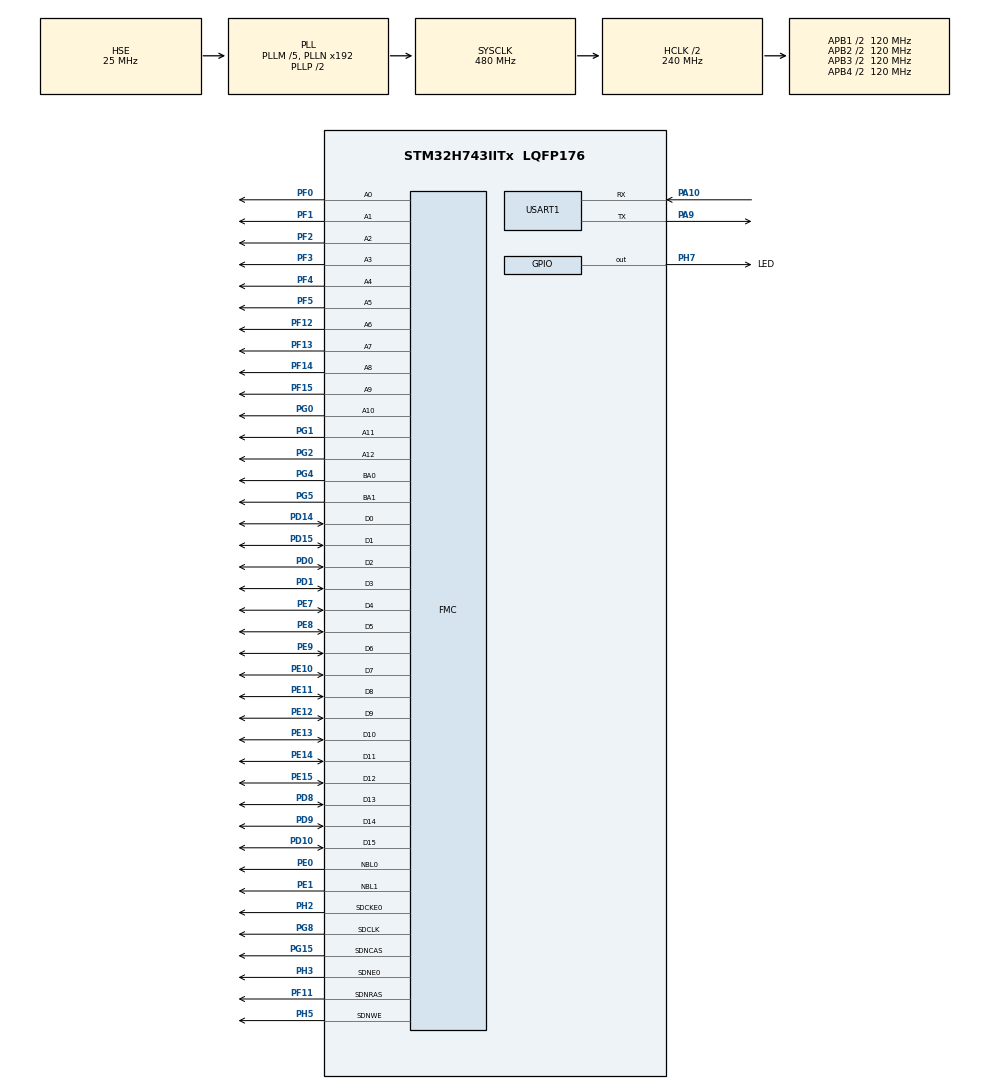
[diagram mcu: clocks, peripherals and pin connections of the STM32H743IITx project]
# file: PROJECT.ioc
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Dma.Request0=USART1_RX
Dma.Request1=USART1_TX
Dma.USART1_RX.0.Direction=DMA_PERIPH_TO_MEMORY
Dma.USART1_RX.0.EventEnable=DISABLE
Dma.USART1_RX.0.FIFOMode=DMA_FIFOMODE_DISABLE
Dma.USART1_RX.0.Instance=DMA1_Stream0
Dma.USART1_RX.0.MemDataAlignment=DMA_MDATAALIGN_BYTE
Dma.USART1_RX.0.MemInc=DMA_MINC_ENABLE
Dma.USART1_RX.0.Mode=DMA_NORMAL
Dma.USART1_RX.0.PeriphDataAlignment=DMA_PDATAALIGN_BYTE
Dma.USART1_RX.0.PeriphInc=DMA_PINC_DISABLE
Dma.USART1_RX.0.Polarity=HAL_DMAMUX_REQ_GEN_RISING
Dma.USART1_RX.0.Priority=DMA_PRIORITY_LOW
Dma.USART1_RX.0.RequestNumber=1
Dma.USART1_RX.0.SignalID=NONE
Dma.USART1_RX.0.SyncEnable=DISABLE
Dma.USART1_RX.0.SyncPolarity=HAL_DMAMUX_SYNC_NO_EVENT
Dma.USART1_RX.0.SyncRequestNumber=1
Dma.USART1_RX.0.SyncSignalID=NONE
Dma.USART1_TX.1.Direction=DMA_MEMORY_TO_PERIPH
Dma.USART1_TX.1.EventEnable=DISABLE
Dma.USART1_TX.1.FIFOMode=DMA_FIFOMODE_DISABLE
Dma.USART1_TX.1.Instance=DMA1_Stream1
Dma.USART1_TX.1.MemDataAlignment=DMA_MDATAALIGN_BYTE
Dma.USART1_TX.1.MemInc=DMA_MINC_ENABLE
Dma.USART1_TX.1.Mode=DMA_NORMAL
Dma.USART1_TX.1.PeriphDataAlignment=DMA_PDATAALIGN_BYTE
Dma.USART1_TX.1.PeriphInc=DMA_PINC_DISABLE
Dma.USART1_TX.1.Polarity=HAL_DMAMUX_REQ_GEN_RISING
Dma.USART1_TX.1.Priority=DMA_PRIORITY_LOW
Dma.USART1_TX.1.RequestNumber=1
Dma.USART1_TX.1.SignalID=NONE
Dma.USART1_TX.1.SyncEnable=DISABLE
Dma.USART1_TX.1.SyncPolarity=HAL_DMAMUX_SYNC_NO_EVENT
Dma.USART1_TX.1.SyncRequestNumber=1
Dma.USART1_TX.1.SyncSignalID=NONE
FMC.CASLatency1=FMC_SDRAM_CAS_LATENCY_3
FMC.ColumnBitsNumber1=FMC_SDRAM_COLUMN_BITS_NUM_9
FMC.ExitSelfRefreshDelay1=9
FMC.LoadToActiveDelay1=1
FMC.RCDDelay1=3
FMC.RPDelay1=3
FMC.RPDelay2=3
FMC.RowCycleDelay1=8
FMC.RowCycleDelay2=8
FMC.SDClockPeriod1=FMC_SDRAM_CLOCK_PERIOD_2
FMC.SDClockPeriod2=FMC_SDRAM_CLOCK_PERIOD_2
FMC.SelfRefreshTime1=6
FMC.WriteRecoveryTime1=3
Mcu.Family=STM32H7
Mcu.Name=STM32H743IITx
Mcu.Package=LQFP176
NVIC.DMA1_Stream0_IRQn=true\:5\:0\:true\:false\:true\:false\:true\:true
NVIC.DMA1_Stream1_IRQn=true\:5\:0\:true\:false\:true\:false\:true\:true
NVIC.PriorityGroup=NVIC_PRIORITYGROUP_4
NVIC.USART1_IRQn=true\:5\:0\:true\:false\:true\:true\:true\:true
PA10.Mode=Asynchronous
PA10.Signal=USART1_RX
PA13\ (JTMS/SWDIO).Mode=Serial_Wire
PA13\ (JTMS/SWDIO).Signal=DEBUG_JTMS-SWDIO
PA14\ (JTCK/SWCLK).Mode=Serial_Wire
PA14\ (JTCK/SWCLK).Signal=DEBUG_JTCK-SWCLK
PA9.Mode=Asynchronous
PA9.Signal=USART1_TX
PD0.Signal=FMC_D2_DA2
PD1.Signal=FMC_D3_DA3
PD10.Signal=FMC_D15_DA15
PD14.Signal=FMC_D0_DA0
PD15.Signal=FMC_D1_DA1
PD8.Signal=FMC_D13_DA13
PD9.Signal=FMC_D14_DA14
PE0.Signal=FMC_NBL0
PE1.Signal=FMC_NBL1
PE10.Signal=FMC_D7_DA7
PE11.Signal=FMC_D8_DA8
PE12.Signal=FMC_D9_DA9
PE13.Signal=FMC_D10_DA10
PE14.Signal=FMC_D11_DA11
PE15.Signal=FMC_D12_DA12
PE7.Signal=FMC_D4_DA4
PE8.Signal=FMC_D5_DA5
PE9.Signal=FMC_D6_DA6
PF0.Signal=FMC_A0
PF1.Signal=FMC_A1
PF11.Signal=FMC_SDNRAS
PF12.Signal=FMC_A6
PF13.Signal=FMC_A7
PF14.Signal=FMC_A8
PF15.Signal=FMC_A9
PF2.Signal=FMC_A2
PF3.Signal=FMC_A3
PF4.Signal=FMC_A4
PF5.Signal=FMC_A5
PG0.Signal=FMC_A10
PG1.Signal=FMC_A11
PG15.Signal=FMC_SDNCAS
PG2.Signal=FMC_A12
PG4.Signal=FMC_A14_BA0
PG5.Signal=FMC_A15_BA1
PG8.Signal=FMC_SDCLK
PH0-OSC_IN\ (PH0).Mode=HSE-External-Oscillator
PH0-OSC_IN\ (PH0).Signal=RCC_OSC_IN
PH1-OSC_OUT\ (PH1).Mode=HSE-External-Oscillator
PH1-OSC_OUT\ (PH1).Signal=RCC_OSC_OUT
PH2.Mode=SdramChipSelect1_1
PH2.Signal=FMC_SDCKE0
PH3.Mode=SdramChipSelect1_1
PH3.Signal=FMC_SDNE0
PH5.Signal=FMC_SDNWE
PH7.GPIO_Label=LED
PH7.Signal=GPIO_Output
ProjectManager.HeapSize=0x200
ProjectManager.StackSize=0x400
ProjectManager.TargetToolchain=MDK-ARM V5.32
RCC.ADCFreq_Value=50390625
RCC.APB1Freq_Value=120000000
RCC.APB2Freq_Value=120000000
RCC.APB3Freq_Value=120000000
RCC.APB4Freq_Value=120000000
RCC.CortexFreq_Value=480000000
RCC.D1PPRE=RCC_APB3_DIV2
RCC.D2PPRE1=RCC_APB1_DIV2
RCC.D2PPRE2=RCC_APB2_DIV2
RCC.D3PPRE=RCC_APB4_DIV2
RCC.DIVM1=5
RCC.DIVN1=192
RCC.HCLKFreq_Value=240000000
RCC.HPRE=RCC_HCLK_DIV2
RCC.PLL2FRACN=0
RCC.PLL3FRACN=0
RCC.PLLFRACN=0
RCC.PLLSourceVirtual=RCC_PLLSOURCE_HSE
RCC.SYSCLKFreq_VALUE=480000000
RCC.SYSCLKSource=RCC_SYSCLKSOURCE_PLLCLK
RCC.USBFreq_Value=480000000
SH.FMC_A0.0=FMC_A0,13b-sda1
SH.FMC_A1.0=FMC_A1,13b-sda1
SH.FMC_A10.0=FMC_A10,13b-sda1
SH.FMC_A11.0=FMC_A11,13b-sda1
SH.FMC_A12.0=FMC_A12,13b-sda1
SH.FMC_A14_BA0.0=FMC_BA0,FourSdramBanks1
SH.FMC_A15_BA1.0=FMC_BA1,FourSdramBanks1
SH.FMC_A2.0=FMC_A2,13b-sda1
SH.FMC_A3.0=FMC_A3,13b-sda1
SH.FMC_A4.0=FMC_A4,13b-sda1
SH.FMC_A5.0=FMC_A5,13b-sda1
SH.FMC_A6.0=FMC_A6,13b-sda1
SH.FMC_A7.0=FMC_A7,13b-sda1
SH.FMC_A8.0=FMC_A8,13b-sda1
SH.FMC_A9.0=FMC_A9,13b-sda1
SH.FMC_D0_DA0.0=FMC_D0,sd-16b-d1
SH.FMC_D10_DA10.0=FMC_D10,sd-16b-d1
SH.FMC_D11_DA11.0=FMC_D11,sd-16b-d1
SH.FMC_D12_DA12.0=FMC_D12,sd-16b-d1
SH.FMC_D13_DA13.0=FMC_D13,sd-16b-d1
SH.FMC_D14_DA14.0=FMC_D14,sd-16b-d1
SH.FMC_D15_DA15.0=FMC_D15,sd-16b-d1
SH.FMC_D1_DA1.0=FMC_D1,sd-16b-d1
SH.FMC_D2_DA2.0=FMC_D2,sd-16b-d1
SH.FMC_D3_DA3.0=FMC_D3,sd-16b-d1
SH.FMC_D4_DA4.0=FMC_D4,sd-16b-d1
SH.FMC_D5_DA5.0=FMC_D5,sd-16b-d1
SH.FMC_D6_DA6.0=FMC_D6,sd-16b-d1
SH.FMC_D7_DA7.0=FMC_D7,sd-16b-d1
SH.FMC_D8_DA8.0=FMC_D8,sd-16b-d1
SH.FMC_D9_DA9.0=FMC_D9,sd-16b-d1
SH.FMC_NBL0.0=FMC_NBL0,Sd2ByteEnable1
SH.FMC_NBL1.0=FMC_NBL1,Sd2ByteEnable1
SH.FMC_SDCLK.0=FMC_SDCLK,13b-sda1
SH.FMC_SDNCAS.0=FMC_SDNCAS,13b-sda1
SH.FMC_SDNRAS.0=FMC_SDNRAS,13b-sda1
SH.FMC_SDNWE.0=FMC_SDNWE,13b-sda1
USART1.VirtualMode-Asynchronous=VM_ASYNC
board=custom

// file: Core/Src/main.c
/* USER CODE BEGIN Header */
/**
 ******************************************************************************
 * @file           : main.c
 * @brief          : Main program body
 ******************************************************************************
 * @attention
 *
 * Copyright (c) 2024 STMicroelectronics.
 * All rights reserved.
 *
 * This software is licensed under terms that can be found in the LICENSE file
 * in the root directory of this software component.
 * If no LICENSE file comes with this software, it is provided AS-IS.
 *
 ******************************************************************************
 */
/* USER CODE END Header */
#include "main.h"
#include "dma.h"
#include "usart.h"
#include "gpio.h"
#include "fmc.h"

/* USER CODE BEGIN Includes */
#include <stdio.h>
#include "iled.h"
#include "iusart.h"
#include "isdram.h"
#include "imemory.h"
/* USER CODE END Includes */

/* USER CODE BEGIN PV */
// uint8_t receiveData[50];
/* USER CODE END PV */

void SystemClock_Config(void);

int main(void)
{
  /* USER CODE BEGIN 1 */
  void *p = NULL;

  /* USER CODE END 1 */

  /* MCU Configuration--------------------------------------------------------*/

  /* Reset of all peripherals, Initializes the Flash interface and the Systick. */
  HAL_Init();

  /* Configure the system clock */
  SystemClock_Config();

  /* Initialize all configured peripherals */
  MX_GPIO_Init();
  MX_DMA_Init();
  MX_USART1_UART_Init();
  MX_FMC_Init();
  /* USER CODE BEGIN 2 */
  SDRAM_InitSequence();
  MCU_serial_init();
  // SDRAM_Test();
  memory_init();

  void* ptr1 = memory_alloc(1 * 1024 * 1024); // allocate 10 MB
  if (ptr1) {
      printf("Allocated 10 MB at %p\n", ptr1);
  } else {
      printf("Failed to allocate 10 MB\n");
  }

  //modify the values in the allocated memory
  for (int i = 0; i < 10 * 1024 * 1024/4; i++) {
      ((uint32_t*)ptr1)[i] = i;
      // print
      if (i % 4096 == 0)
      {
        printf("Value at %p: %d\n", &((uint32_t*)ptr1)[i], ((uint32_t*)ptr1)[i]);
      }
  }

  memory_free(ptr1);
  MCU_printf("Freed memory at %p\n", ptr1);
  /* USER CODE END 2 */

  /* Infinite loop */
  while (1)
  {

    /* USER CODE BEGIN 3 */
    LED(1);
    HAL_Delay(500);
    LED(0);
    HAL_Delay(500);

    MCU_printf("There are %d days in a week.\n\r", 7);
  }
  /* USER CODE END 3 */
}

void SystemClock_Config(void)
{
  RCC_OscInitTypeDef RCC_OscInitStruct = {0};
  RCC_ClkInitTypeDef RCC_ClkInitStruct = {0};

  /** Supply configuration update enable
   */
  HAL_PWREx_ConfigSupply(PWR_LDO_SUPPLY);

  /** Configure the main internal regulator output voltage
   */
  __HAL_PWR_VOLTAGESCALING_CONFIG(PWR_REGULATOR_VOLTAGE_SCALE1);

  while (!__HAL_PWR_GET_FLAG(PWR_FLAG_VOSRDY))
  {
  }

  __HAL_RCC_SYSCFG_CLK_ENABLE();
  __HAL_PWR_VOLTAGESCALING_CONFIG(PWR_REGULATOR_VOLTAGE_SCALE0);

  while (!__HAL_PWR_GET_FLAG(PWR_FLAG_VOSRDY))
  {
  }

  /** Initializes the RCC Oscillators according to the specified parameters
   * in the RCC_OscInitTypeDef structure.
   */
  RCC_OscInitStruct.OscillatorType = RCC_OSCILLATORTYPE_HSE;
  RCC_OscInitStruct.HSEState = RCC_HSE_ON;
  RCC_OscInitStruct.PLL.PLLState = RCC_PLL_ON;
  RCC_OscInitStruct.PLL.PLLSource = RCC_PLLSOURCE_HSE;
  RCC_OscInitStruct.PLL.PLLM = 5;
  RCC_OscInitStruct.PLL.PLLN = 192;
  RCC_OscInitStruct.PLL.PLLP = 2;
  RCC_OscInitStruct.PLL.PLLQ = 2;
  RCC_OscInitStruct.PLL.PLLR = 2;
  RCC_OscInitStruct.PLL.PLLRGE = RCC_PLL1VCIRANGE_2;
  RCC_OscInitStruct.PLL.PLLVCOSEL = RCC_PLL1VCOWIDE;
  RCC_OscInitStruct.PLL.PLLFRACN = 0;
  if (HAL_RCC_OscConfig(&RCC_OscInitStruct) != HAL_OK)
  {
    Error_Handler();
  }

  /** Initializes the CPU, AHB and APB buses clocks
   */
  RCC_ClkInitStruct.ClockType = RCC_CLOCKTYPE_HCLK | RCC_CLOCKTYPE_SYSCLK | RCC_CLOCKTYPE_PCLK1 | RCC_CLOCKTYPE_PCLK2 | RCC_CLOCKTYPE_D3PCLK1 | RCC_CLOCKTYPE_D1PCLK1;
  RCC_ClkInitStruct.SYSCLKSource = RCC_SYSCLKSOURCE_PLLCLK;
  RCC_ClkInitStruct.SYSCLKDivider = RCC_SYSCLK_DIV1;
  RCC_ClkInitStruct.AHBCLKDivider = RCC_HCLK_DIV2;
  RCC_ClkInitStruct.APB3CLKDivider = RCC_APB3_DIV2;
  RCC_ClkInitStruct.APB1CLKDivider = RCC_APB1_DIV2;
  RCC_ClkInitStruct.APB2CLKDivider = RCC_APB2_DIV2;
  RCC_ClkInitStruct.APB4CLKDivider = RCC_APB4_DIV2;

  if (HAL_RCC_ClockConfig(&RCC_ClkInitStruct, FLASH_LATENCY_4) != HAL_OK)
  {
    Error_Handler();
  }
}

/* USER CODE BEGIN 4 */

// MicroLib needed for retargetting
// retarget fputc for printf
int fputc(int ch, FILE *f)
{
  uint8_t temp = (uint8_t)ch;
  HAL_UART_Transmit(&huart1, &temp, 1, HAL_MAX_DELAY);
  return ch;
}

// retarget fgetc for scanf
int fgetc(FILE *f)
{
  while (__HAL_UART_GET_FLAG(&huart1, UART_FLAG_RXNE) == RESET)
    ;                                        // Wait until the data is received
  return (int)(huart1.Instance->RDR & 0xFF); // Read the received data
}
/* USER CODE END 4 */

void Error_Handler(void)
{
  __disable_irq();
  while (1)
  {
  }
}
